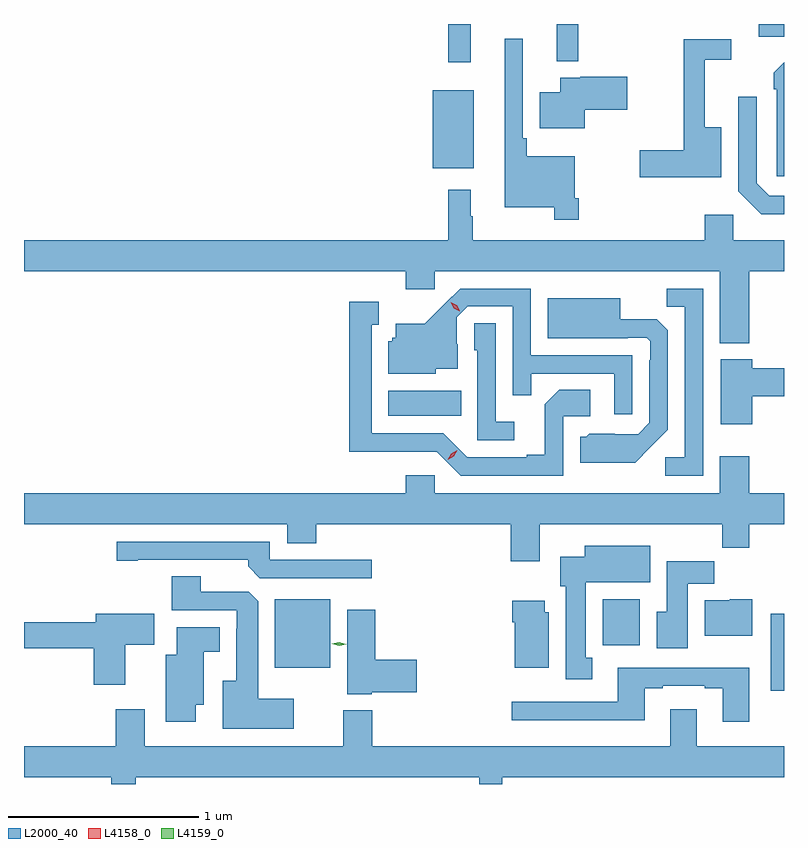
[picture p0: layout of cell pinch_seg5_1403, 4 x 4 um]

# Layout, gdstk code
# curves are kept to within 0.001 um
import gdstk
lib = gdstk.Library(unit=1e-6, precision=1e-09)
def R(c, l, rs):  # rectangles x0, y0, x1, y1
    for r in rs: c.add(gdstk.rectangle(r[:2], r[2:], *l))
def P(c, l, *ps):  # polygons
    for p in ps: c.add(gdstk.Polygon(p, *l))
L2000_40 = (2000, 40)
L4158_0 = (4158, 0)
L4159_0 = (4159, 0)

pinch_seg5_1403 = lib.new_cell('pinch_seg5_1403')
R(pinch_seg5_1403, L2000_40, [(139.385,911.829,139.455,912.232), (136.775,911.948,137.068,912.31), (138.5,912.068,138.697,912.31), (137.372,913.274,137.756,913.408), (137.606,914.579,137.821,914.989), (137.689,915.135,137.807,915.337), (138.26,915.14,138.372,915.337), (139.322,915.27,139.455,915.337)])
P(pinch_seg5_1403, L2000_40, [(138.374,914.419),(138.354,914.419),(138.354,914.641),(138.101,914.641),(138.101,914.737),(138.081,914.737),(138.081,915.259),(137.984,915.259),(137.984,914.372),(138.246,914.372),(138.246,914.307),(138.374,914.307)],
  [(139.126,914.794),(139.037,914.794),(139.037,915.15),(139.177,915.15),(139.177,915.258),(138.927,915.258),(138.927,914.672),(138.696,914.672),(138.696,914.53),(139.126,914.53)],
  [(139.455,915.135),(139.401,915.081),(139.401,914.993),(139.416,914.993),(139.416,914.535),(139.455,914.535)],
  [(138.406,914.885),(138.631,914.885),(138.631,915.06),(138.382,915.06),(138.382,915.055),(138.278,915.055),(138.278,914.977),(138.17,914.977),(138.17,914.789),(138.406,914.789)],
  [(139.455,914.433),(139.377,914.433),(139.311,914.499),(139.311,914.953),(139.215,914.953),(139.215,914.457),(139.336,914.336),(139.455,914.336)],
  [(139.271,914.036),(139.455,914.036),(139.455,914.2),(139.188,914.2),(139.188,914.332),(139.037,914.332),(139.037,914.2),(137.818,914.2),(137.818,914.324),(137.806,914.324),(137.806,914.464),(137.689,914.464),(137.689,914.2),(135.455,914.2),(135.455,914.036),(137.465,914.036),(137.465,913.941),(137.616,913.941),(137.616,914.036),(139.118,914.036),(139.118,913.658),(139.271,913.658)],
  [(139.029,913.944),(138.838,913.944),(138.838,913.849),(138.933,913.849),(138.933,913.056),(138.831,913.056),(138.831,912.96),(139.029,912.96)],
  [(138.657,913.593),(138.123,913.593),(138.123,913.944),(137.75,913.944),(137.563,913.759),(137.411,913.759),(137.411,913.686),(137.394,913.686),(137.394,913.668),(137.372,913.668),(137.372,913.496),(137.622,913.496),(137.622,913.523),(137.737,913.523),(137.737,913.652),(137.733,913.652),(137.733,913.794),(137.79,913.851),(138.027,913.851),(138.027,913.384),(138.125,913.384),(138.125,913.497),(138.561,913.497),(138.561,913.284),(138.657,913.284)],
  [(138.751,913.109),(138.843,913.202),(138.843,913.724),(138.784,913.783),(138.592,913.783),(138.592,913.894),(138.212,913.894),(138.212,913.682),(138.632,913.682),(138.632,913.686),(138.732,913.686),(138.75,913.668),(138.75,913.568),(138.747,913.568),(138.747,913.239),(138.687,913.179),(138.43,913.18),(138.414,913.164),(138.383,913.164),(138.383,913.028),(138.671,913.028)],
  [(138.294,913.272),(138.436,913.272),(138.436,913.412),(138.271,913.412),(138.195,913.336),(138.195,913.069),(138.101,913.069),(138.101,913.056),(137.787,913.056),(137.661,913.182),(137.284,913.182),(137.284,913.755),(137.323,913.755),(137.323,913.876),(137.166,913.876),(137.166,913.085),(137.628,913.086),(137.754,912.96),(138.294,912.96)],
  [(138.034,913.243),(137.937,913.243),(137.937,913.763),(137.826,913.763),(137.826,913.62),(137.841,913.62),(137.841,913.146),(138.034,913.146)],
  [(139.288,913.379),(139.455,913.379),(139.455,913.526),(139.288,913.526),(139.288,913.573),(139.121,913.573),(139.121,913.23),(139.288,913.23)],
  [(138.169,912.704),(139.129,912.704),(139.129,912.58),(139.273,912.58),(139.273,912.704),(139.455,912.704),(139.455,912.868),(139.271,912.868),(139.271,913.063),(139.118,913.063),(139.118,912.868),(137.616,912.868),(137.616,912.961),(137.465,912.961),(137.465,912.868),(135.455,912.868),(135.455,912.704),(136.841,912.704),(136.841,912.605),(136.994,912.605),(136.994,912.704),(138.017,912.704),(138.017,912.51),(138.169,912.51)],
  [(137.284,912.516),(136.749,912.516),(136.749,912.612),(135.942,912.612),(135.942,912.511),(136.054,912.511),(136.054,912.516),(136.634,912.516),(136.634,912.482),(136.695,912.42),(137.284,912.42)],
  [(138.445,912.002),(138.412,912.002),(138.412,912.398),(138.751,912.398),(138.751,912.592),(138.407,912.592),(138.407,912.532),(138.278,912.532),(138.278,912.378),(138.305,912.378),(138.305,911.889),(138.445,911.889)],
  [(138.949,912.392),(139.088,912.392),(139.088,912.51),(138.839,912.51),(138.839,912.244),(138.785,912.244),(138.785,912.051),(138.949,912.051)],
  [(136.876,911.785),(136.687,911.785),(136.687,912.299),(136.638,912.348),(136.384,912.348),(136.384,912.431),(136.232,912.431),(136.232,912.252),(136.575,912.252),(136.575,912.155),(136.571,912.155),(136.571,911.881),(136.502,911.881),(136.502,911.627),(136.876,911.627)],
  [(139.288,912.31),(139.17,912.31),(139.17,912.304),(139.037,912.304),(139.037,912.116),(139.288,912.116)],
  [(138.217,912.24),(138.196,912.24),(138.196,912.301),(138.026,912.301),(138.026,912.188),(138.038,912.188),(138.038,911.948),(138.217,911.948)],
  [(137.286,911.819),(137.521,911.819),(137.521,911.99),(137.303,911.99),(137.303,912.253),(137.156,912.253),(137.156,911.81),(137.286,911.81)],
  [(135.988,912.07),(136.141,912.07),(136.141,912.232),(135.833,912.232),(135.833,912.188),(135.455,912.188),(135.455,912.052),(135.821,912.052),(135.821,911.859),(135.988,911.859)],
  [(136.36,911.753),(136.402,911.753),(136.402,912.032),(136.486,912.032),(136.486,912.163),(136.259,912.163),(136.259,912.016),(136.202,912.016),(136.202,911.664),(136.36,911.664)],
  [(139.273,911.95),(139.045,911.95),(139.045,911.949),(138.581,911.949),(138.581,911.769),(138.021,911.769),(138.021,911.672),(138.721,911.672),(138.721,911.841),(138.817,911.841),(138.817,911.853),(139.037,911.853),(139.037,911.841),(139.133,911.841),(139.133,911.664),(139.273,911.664)],
  [(136.042,911.372),(137.85,911.372),(137.85,911.337),(137.971,911.337),(137.971,911.372),(139.455,911.372),(139.455,911.536),(138.997,911.536),(138.997,911.731),(138.857,911.731),(138.857,911.536),(137.288,911.536),(137.288,911.725),(137.135,911.725),(137.135,911.536),(136.09,911.536),(136.09,911.731),(135.938,911.731),(135.938,911.536),(135.455,911.536),(135.455,911.372),(135.913,911.372),(135.913,911.337),(136.042,911.337)])
P(pinch_seg5_1403, L4158_0, [(137.749,913.826),(137.718,913.842),(137.701,913.872),(137.701,913.872),(137.701,913.872),(137.732,913.856),(137.749,913.827),(137.749,913.826)],
  [(137.686,913.043),(137.686,913.043),(137.704,913.075),(137.736,913.094),(137.736,913.094),(137.736,913.093),(137.718,913.061),(137.686,913.043)])
P(pinch_seg5_1403, L4159_0, [(137.113,912.064),(137.075,912.075),(137.074,912.075),(137.075,912.075),(137.113,912.084),(137.151,912.073),(137.152,912.073),(137.151,912.073)])

lib.write_gds('pinch_seg5_1403.gds')
